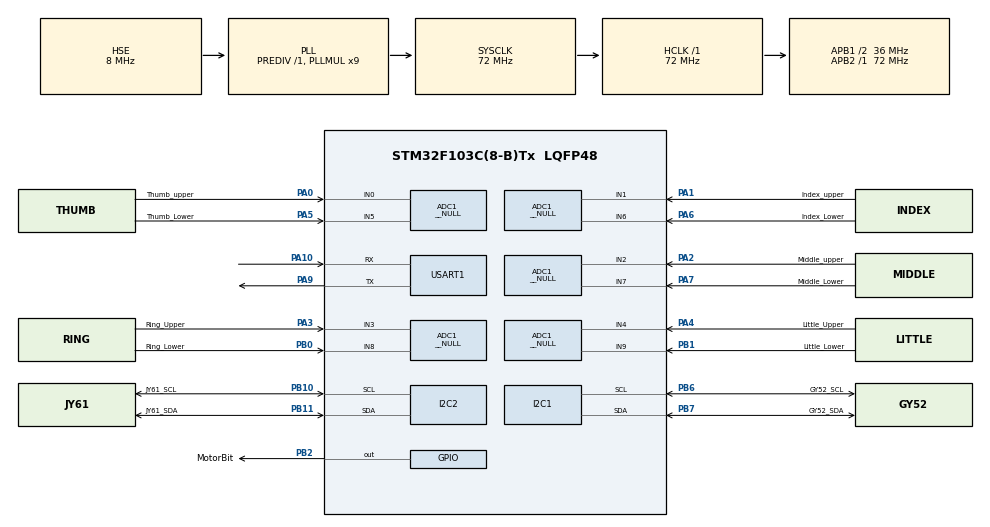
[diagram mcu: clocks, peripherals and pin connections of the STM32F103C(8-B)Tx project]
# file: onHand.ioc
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ADC1.Channel-0\#ChannelRegularConversion=ADC_CHANNEL_0
ADC1.Channel-1\#ChannelRegularConversion=ADC_CHANNEL_1
ADC1.Channel-2\#ChannelRegularConversion=ADC_CHANNEL_2
ADC1.Channel-3\#ChannelRegularConversion=ADC_CHANNEL_3
ADC1.Channel-4\#ChannelRegularConversion=ADC_CHANNEL_4
ADC1.Channel-5\#ChannelRegularConversion=ADC_CHANNEL_5
ADC1.Channel-6\#ChannelRegularConversion=ADC_CHANNEL_6
ADC1.Channel-7\#ChannelRegularConversion=ADC_CHANNEL_7
ADC1.Channel-8\#ChannelRegularConversion=ADC_CHANNEL_8
ADC1.Channel-9\#ChannelRegularConversion=ADC_CHANNEL_9
ADC1.ContinuousConvMode=DISABLE
ADC1.DataAlign=ADC_DATAALIGN_RIGHT
ADC1.DiscontinuousConvMode=DISABLE
ADC1.EnableAnalogWatchDog=false
ADC1.EnableRegularConversion=ENABLE
ADC1.ExternalTrigConvEdgeChoice=NONE
ADC1.InjNumberOfConversion=0
ADC1.Mode=__NULL
ADC1.NbrOfConversion=10
ADC1.NbrOfConversionFlag=1
ADC1.Rank-0\#ChannelRegularConversion=1
ADC1.Rank-1\#ChannelRegularConversion=2
ADC1.Rank-2\#ChannelRegularConversion=3
ADC1.Rank-3\#ChannelRegularConversion=4
ADC1.Rank-4\#ChannelRegularConversion=5
ADC1.Rank-5\#ChannelRegularConversion=6
ADC1.Rank-6\#ChannelRegularConversion=7
ADC1.Rank-7\#ChannelRegularConversion=8
ADC1.Rank-8\#ChannelRegularConversion=9
ADC1.Rank-9\#ChannelRegularConversion=10
ADC1.SamplingTime-0\#ChannelRegularConversion=ADC_SAMPLETIME_7CYCLES_5
ADC1.SamplingTime-1\#ChannelRegularConversion=ADC_SAMPLETIME_7CYCLES_5
ADC1.SamplingTime-2\#ChannelRegularConversion=ADC_SAMPLETIME_7CYCLES_5
ADC1.SamplingTime-3\#ChannelRegularConversion=ADC_SAMPLETIME_7CYCLES_5
ADC1.SamplingTime-4\#ChannelRegularConversion=ADC_SAMPLETIME_7CYCLES_5
ADC1.SamplingTime-5\#ChannelRegularConversion=ADC_SAMPLETIME_7CYCLES_5
ADC1.SamplingTime-6\#ChannelRegularConversion=ADC_SAMPLETIME_7CYCLES_5
ADC1.SamplingTime-7\#ChannelRegularConversion=ADC_SAMPLETIME_7CYCLES_5
ADC1.SamplingTime-8\#ChannelRegularConversion=ADC_SAMPLETIME_7CYCLES_5
ADC1.SamplingTime-9\#ChannelRegularConversion=ADC_SAMPLETIME_7CYCLES_5
ADC1.ScanConvMode=ADC_SCAN_ENABLE
ADC1.master=1
Dma.ADC1.2.Direction=DMA_PERIPH_TO_MEMORY
Dma.ADC1.2.Instance=DMA1_Channel1
Dma.ADC1.2.MemDataAlignment=DMA_MDATAALIGN_HALFWORD
Dma.ADC1.2.MemInc=DMA_MINC_ENABLE
Dma.ADC1.2.Mode=DMA_CIRCULAR
Dma.ADC1.2.PeriphDataAlignment=DMA_PDATAALIGN_HALFWORD
Dma.ADC1.2.PeriphInc=DMA_PINC_DISABLE
Dma.ADC1.2.Priority=DMA_PRIORITY_LOW
Dma.I2C1_RX.1.Direction=DMA_PERIPH_TO_MEMORY
Dma.I2C1_RX.1.Instance=DMA1_Channel7
Dma.I2C1_RX.1.MemDataAlignment=DMA_MDATAALIGN_BYTE
Dma.I2C1_RX.1.MemInc=DMA_MINC_ENABLE
Dma.I2C1_RX.1.Mode=DMA_NORMAL
Dma.I2C1_RX.1.PeriphDataAlignment=DMA_PDATAALIGN_BYTE
Dma.I2C1_RX.1.PeriphInc=DMA_PINC_DISABLE
Dma.I2C1_RX.1.Priority=DMA_PRIORITY_MEDIUM
Dma.I2C2_RX.0.Direction=DMA_PERIPH_TO_MEMORY
Dma.I2C2_RX.0.Instance=DMA1_Channel5
Dma.I2C2_RX.0.MemDataAlignment=DMA_MDATAALIGN_BYTE
Dma.I2C2_RX.0.MemInc=DMA_MINC_ENABLE
Dma.I2C2_RX.0.Mode=DMA_NORMAL
Dma.I2C2_RX.0.PeriphDataAlignment=DMA_PDATAALIGN_BYTE
Dma.I2C2_RX.0.PeriphInc=DMA_PINC_DISABLE
Dma.I2C2_RX.0.Priority=DMA_PRIORITY_MEDIUM
Dma.Request0=I2C2_RX
Dma.Request1=I2C1_RX
Dma.Request2=ADC1
Dma.Request3=USART1_TX
Dma.USART1_TX.3.Direction=DMA_MEMORY_TO_PERIPH
Dma.USART1_TX.3.Instance=DMA1_Channel4
Dma.USART1_TX.3.MemDataAlignment=DMA_MDATAALIGN_BYTE
Dma.USART1_TX.3.MemInc=DMA_MINC_ENABLE
Dma.USART1_TX.3.Mode=DMA_NORMAL
Dma.USART1_TX.3.PeriphDataAlignment=DMA_PDATAALIGN_BYTE
Dma.USART1_TX.3.PeriphInc=DMA_PINC_DISABLE
Dma.USART1_TX.3.Priority=DMA_PRIORITY_MEDIUM
Mcu.Family=STM32F1
Mcu.Name=STM32F103C(8-B)Tx
Mcu.Package=LQFP48
NVIC.DMA1_Channel1_IRQn=true\:3\:0\:true\:false\:true
NVIC.DMA1_Channel4_IRQn=true\:1\:0\:true\:false\:true
NVIC.DMA1_Channel5_IRQn=true\:2\:0\:true\:false\:true
NVIC.DMA1_Channel7_IRQn=true\:2\:0\:true\:false\:true
NVIC.PriorityGroup=NVIC_PRIORITYGROUP_4
NVIC.TIM2_IRQn=true\:0\:0\:true\:false\:true
NVIC.USART1_IRQn=true\:1\:0\:true\:false\:true
PA0-WKUP.GPIO_Label=Thumb_upper
PA0-WKUP.Signal=ADCx_IN0
PA1.GPIO_Label=Index_upper
PA1.Signal=ADCx_IN1
PA10.Mode=Asynchronous
PA10.Signal=USART1_RX
PA2.GPIO_Label=Middle_upper
PA2.Signal=ADCx_IN2
PA3.GPIO_Label=Ring_Upper
PA3.Signal=ADCx_IN3
PA4.GPIO_Label=Little_Upper
PA4.Signal=ADCx_IN4
PA5.GPIO_Label=Thumb_Lower
PA5.Signal=ADCx_IN5
PA6.GPIO_Label=Index_Lower
PA6.Signal=ADCx_IN6
PA7.GPIO_Label=Middle_Lower
PA7.Signal=ADCx_IN7
PA9.Mode=Asynchronous
PA9.Signal=USART1_TX
PB0.GPIO_Label=Ring_Lower
PB0.Signal=ADCx_IN8
PB1.GPIO_Label=Little_Lower
PB1.Signal=ADCx_IN9
PB10.GPIO_Label=JY61_SCL
PB10.Mode=I2C
PB10.Signal=I2C2_SCL
PB11.GPIO_Label=JY61_SDA
PB11.Mode=I2C
PB11.Signal=I2C2_SDA
PB2.GPIO_Label=MotorBit
PB2.Signal=GPIO_Output
PB6.GPIO_Label=GY52_SCL
PB6.Mode=I2C
PB6.Signal=I2C1_SCL
PB7.GPIO_Label=GY52_SDA
PB7.Mode=I2C
PB7.Signal=I2C1_SDA
PD0-OSC_IN.Mode=HSE-External-Oscillator
PD0-OSC_IN.Signal=RCC_OSC_IN
PD1-OSC_OUT.Mode=HSE-External-Oscillator
PD1-OSC_OUT.Signal=RCC_OSC_OUT
ProjectManager.HeapSize=0x400
ProjectManager.StackSize=0x200
ProjectManager.TargetToolchain=MDK-ARM V5
RCC.ADCPresc=RCC_ADCPCLK2_DIV6
RCC.AHBFreq_Value=72000000
RCC.APB1CLKDivider=RCC_HCLK_DIV2
RCC.APB1Freq_Value=36000000
RCC.APB1TimFreq_Value=72000000
RCC.APB2Freq_Value=72000000
RCC.APB2TimFreq_Value=72000000
RCC.EnbaleCSS=true
RCC.HCLKFreq_Value=72000000
RCC.HSIState=RCC_HSI_ON
RCC.PLLMUL=RCC_PLL_MUL9
RCC.PLLSourceVirtual=RCC_PLLSOURCE_HSE
RCC.SYSCLKFreq_VALUE=72000000
RCC.SYSCLKSource=RCC_SYSCLKSOURCE_PLLCLK
RCC.USBFreq_Value=72000000
SH.ADCx_IN0.0=ADC1_IN0,IN0
SH.ADCx_IN1.0=ADC1_IN1,IN1
SH.ADCx_IN2.0=ADC1_IN2,IN2
SH.ADCx_IN3.0=ADC1_IN3,IN3
SH.ADCx_IN4.0=ADC1_IN4,IN4
SH.ADCx_IN5.0=ADC1_IN5,IN5
SH.ADCx_IN6.0=ADC1_IN6,IN6
SH.ADCx_IN7.0=ADC1_IN7,IN7
SH.ADCx_IN8.0=ADC1_IN8,IN8
SH.ADCx_IN9.0=ADC1_IN9,IN9
TIM2.Period=4999
TIM2.Prescaler=71
TIM2.Pulse-Output\ Compare1\ No\ Output=0
TIM2.TIM_MasterSlaveMode=TIM_MASTERSLAVEMODE_DISABLE
VP_CRC_VS_CRC.Mode=CRC_Activate
VP_SYS_VS_ND.Mode=No_Debug
VP_TIM2_VS_no_output1.Mode=Output Compare1 No Output
board=onHand

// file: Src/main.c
/**
  ******************************************************************************
  * File Name          : main.c
  * Description        : Main program body
  ******************************************************************************
  *
  * COPYRIGHT(c) 2016 STMicroelectronics
  *
  * Redistribution and use in source and binary forms, with or without modification,
  * are permitted provided that the following conditions are met:
  *   1. Redistributions of source code must retain the above copyright notice,
  *      this list of conditions and the following disclaimer.
  *   2. Redistributions in binary form must reproduce the above copyright notice,
  *      this list of conditions and the following disclaimer in the documentation
  *      and/or other materials provided with the distribution.
  *   3. Neither the name of STMicroelectronics nor the names of its contributors
  *      may be used to endorse or promote products derived from this software
  *      without specific prior written permission.
  *
  * THIS SOFTWARE IS PROVIDED BY THE COPYRIGHT HOLDERS AND CONTRIBUTORS "AS IS"
  * AND ANY EXPRESS OR IMPLIED WARRANTIES, INCLUDING, BUT NOT LIMITED TO, THE
  * IMPLIED WARRANTIES OF MERCHANTABILITY AND FITNESS FOR A PARTICULAR PURPOSE ARE
  * DISCLAIMED. IN NO EVENT SHALL THE COPYRIGHT HOLDER OR CONTRIBUTORS BE LIABLE
  * FOR ANY DIRECT, INDIRECT, INCIDENTAL, SPECIAL, EXEMPLARY, OR CONSEQUENTIAL
  * DAMAGES (INCLUDING, BUT NOT LIMITED TO, PROCUREMENT OF SUBSTITUTE GOODS OR
  * SERVICES; LOSS OF USE, DATA, OR PROFITS; OR BUSINESS INTERRUPTION) HOWEVER
  * CAUSED AND ON ANY THEORY OF LIABILITY, WHETHER IN CONTRACT, STRICT LIABILITY,
  * OR TORT (INCLUDING NEGLIGENCE OR OTHERWISE) ARISING IN ANY WAY OUT OF THE USE
  * OF THIS SOFTWARE, EVEN IF ADVISED OF THE POSSIBILITY OF SUCH DAMAGE.
  *
  ******************************************************************************
  */
#include "main.h"
#include "stm32f1xx_hal.h"
#include "adc.h"
#include "crc.h"
#include "dma.h"
#include "i2c.h"
#include "tim.h"
#include "usart.h"
#include "gpio.h"

/* USER CODE BEGIN Includes */
	//include all the functional head file
#include "softconv.h"
#include "JY61.h"
#include "GY52.h"
#include "motor.h"
/* USER CODE END Includes */

/* USER CODE BEGIN PV */
/* Private variables ---------------------------------------------------------*/
static uint16_t pkt_size = 72;//packet size defined in bytes;almost const(with FLOAT_SIZE= 0x0A)
static uint32_t seq = 0;//HEADER{Timestamp, **seq**, data}
uint8_t RX_pData[4];//Array used for receive packet from HOST;constant 4 bytes
/* USER CODE END PV */

void SystemClock_Config(void);
void Error_Handler(void);

/* USER CODE BEGIN PFP */
/* Private function prototypes -----------------------------------------------*/
	//predefined built-in function
uint16_t floatEnconding(float, uint16_t, uint8_t*);
void onHandSystem_Init(void);
void fetchData_Async(void);
uint8_t* compressData(void);
/* USER CODE END PFP */

/* USER CODE BEGIN 0 */

/**
  * @brief  Encoding *float number* into *uint8*; \
	* SignBit(len:1) + IntegerPart(len:*type*) + DecimalPart(len:FLOAT_SIZE) \
	* THIS IS NOT COMPLEMENT CODING; E.g. -8.99945 --> 11000  11 1110 0111 (with TYPE_SIGNED_5)
  * @param  raw, raw data with *float* format
	*	@param  type, defined constatnt like TYPE_(UN)SIGNED_X in 'main.h'
	* @param  *data, the Encoded data in (uint8_t) format to take back
  * @retval uint16_t, the length of '*data' pointer(in bit)
  */
uint16_t floatEncoding(float raw, uint16_t type, uint8_t* data)
{
	uint8_t flag = 0;
	uint16_t *t1, *t2, mask1, mask2;
	mask1 = (1 << type) - 1;//mask for IntegerPart
	mask2 = (1 << FLOAT_SIZE) - 1;//mask for DecimalPart

	if(raw < 0)
	{
		raw = -raw;//remove negative sign; THIS IS NOT COMPLEMENT CODING
		flag = 1;//mark whether is negative
	}

	*t1 = (uint16_t)raw & mask1;//with mask on IntegerPart(without sign), set other bit 0
	*t2 = (uint16_t)((raw-(int)raw) * 1E3) & mask2;//with mask on DecimalPart, set other bit 0

	*data = (uint8_t *)((*t1) << FLOAT_SIZE) & (*t2);//addup the both part
	if(flag == 1)	//negative number
		*data &= flag << (FLOAT_SIZE + type - 1);//add sign on the first bit
	return (FLOAT_SIZE + type);//return the length
}

/**
  * @brief  This is the function firstly called by USER\
	* to start the *procedure* of the system
  * @param  none
  * @retval none
  */
void onHandSystem_Init()
{
	//Init the sensor needed to init
	ADC_Init();
	GY52_Init();

	Motor_Hold(1000);//run in block-mode
	//sensor carlibration start, not implemented
	HAL_Delay(3000);
	//sensor carlibration stop, not implemented
	Motor_Hold(1000);//run in block-mode

	HAL_UART_Receive_IT(&huart1, RX_pData, 4);//wait to wakeup by Host
}

/**
  * @brief  This is the function invoking each sensor's \
	* fetchData function to fetch data Asynchronous
  * @param  none
  * @retval none
  */
void fetchData_Async()
{
	ADC_fetchData();//fill in ADC_realData[10]
	JY61_fetchData();//fill in JY61_Data_t JY61_Data
	GY52_fetchData();//fill in GY52_Data_t GY52_Data
}

/**
  * @brief  Building the packet; Calling 'floatEncoding' for each segment
  * @param  none
  * @retval (uint8_t *), the actual packet as the result
  */
uint8_t* compressData(void)
{
	uint8_t *data = (uint8_t *)malloc(8 * pkt_size);//allocate memory by user, so need 'free' it
	uint8_t *ptr, *tmp, size;//index pointer; temp data generated; temp data length;
	float JY61_data[9] = {0};
	float GY52_data[6] = {0};

	//RETRIEVE *ADC* DATA(LOCAL from MEMORY)
	float *ADC_data = ADC_getAll();
	//RETRIEVE *JY61* DATA(LOCAL from MEMORY)
	JY61_getAcc(&JY61_data[0], &JY61_data[1], &JY61_data[2]);
	JY61_getGryo(&JY61_data[3], &JY61_data[4], &JY61_data[5]);
	JY61_getAngle(&JY61_data[6], &JY61_data[7], &JY61_data[8]);
	//RETRIEVE *GY52* DATA(LOCAL from MEMORY)
	GY52_getAcc(&GY52_data[0], &GY52_data[1], &GY52_data[2]);
	GY52_getGryo(&GY52_data[3], &GY52_data[4], &GY52_data[5]);

	//maintain *ptr as index pointer to TRAVERSE the packet size
	ptr = data;

	/**
  * @brief  Add HEADER
	* STRUCTURE:[90 BYTES]
	* |---------------------------|
	* |					'LFT'/'RAT'				|(3 bytes)
	* |---------------------------|
	* |					TimeStamp					|(4 bytes)
	* |---------------------------|
	* |					Sequnce No.				|(4 bytes)
	* |---------------------------|
	* |'A'|		JY61ACCX		|		JY61ACCY		|		JY61ACCZ		|(1+6 bytes)
	* |---------------------------|
	* |'B'|		JY61GRYX		|		JY61GRYY		|		JY61GRYZ		|(1+9 bytes)
	* |---------------------------|
	* |'C'|		JY61AGLX		|		JY61AGLY		|		JY61AGLZ		|(1+9 bytes)
	* |---------------------------|
	* |'D'|		GY52ACCX		|		GY52ACCY		|		GY52ACCZ		|(1+6 bytes)
	* |---------------------------|
	* |'E'|		GY52GRYX		|		GY52GRYY		|		GY52GRYZ		|(1+9 bytes)
	* |---------------------------|
	* |'F'|											ADC1 * 5									|(1+15 bytes)
	* |---------------------------|
	* |'G'|											ADC2 * 5									|(1+15 bytes)
	* |---------------------------|
	* |					'END'							|(3 bytes)
	* |---------------------------|
  */
	uint32_t* Timestamp;
	*Timestamp = HAL_GetTick();
	memcpy(ptr, (uint8_t *)Timestamp, 4);	ptr += 4;
	memcpy(ptr, (uint8_t *)seq, 4);				ptr += 4;

	/**
  * 'A', for JY61.ACC, 3*(5+10)
  */
	*(ptr++) = (uint8_t)'A';//add sign 'A', and shift the pointer to next place
	for (int i = 0; i < 3; i++)
	{
		size = floatEncoding(JY61_data[i], TYPE_SIGNED_5, tmp);
		size = ceil(size/8);//int bytes, to cover all the bits
		memcpy(ptr, tmp, size);//copy the data from *tmp* to *ptr* with *size*
		ptr += size;//pointer shift to next
	}

	/**
  * 'B', for JY61.GRYO, 3*(12+10)
  */
	*(ptr++) = (uint8_t)'B';
	for (int i = 3; i < 6; i++)
	{
		size = floatEncoding(JY61_data[i], TYPE_SIGNED_12, tmp);
		size = ceil(size/8);
		memcpy(ptr, tmp, size);
		ptr += size;
	}

	/**
  * 'C', for JY61.ANGL, 3*(10+10)
  */
	*(ptr++) = (uint8_t)'C';
	for (int i = 6; i < 9; i++)
	{
		size = floatEncoding(JY61_data[i], TYPE_SIGNED_10, tmp);
		size = ceil(size/8);
		memcpy(ptr, tmp, size);
		ptr += size;
	}

	/**
  * 'D', for GY52.ACC, 3*(5+10)
  */
	*(ptr++) = (uint8_t)'D';
	for (int i = 0; i < 3; i++)
	{
		size = floatEncoding(GY52_data[i], TYPE_SIGNED_5, tmp);
		size = ceil(size/8);
		memcpy(ptr, tmp, size);
		ptr += size;
	}

	/**
  * 'E', for GY52.GRYO, 3*(12+10)
  */
	*(ptr++) = (uint8_t)'E';
	for (int i = 3; i < 6; i++)
	{
		size = floatEncoding(GY52_data[i], TYPE_SIGNED_12, tmp);
		size = ceil(size/8);
		memcpy(ptr, tmp, size);
		ptr += size;
	}

	/**
  * 'F', for ADC 1, 5*(7+10)
  */
	*(ptr++) = (uint8_t)'F';
	for (int i = 0; i < 5; i++)
	{
		size = floatEncoding(ADC_data[i], TYPE_UNSIGNED_7, tmp);
		size = ceil(size/8);
		memcpy(ptr, tmp, size);
		ptr += size;
	}

	/**
  * 'F', for ADC 2, 5*(7+10)
  */
	*(ptr++) = (uint8_t)'G';
	for (int i = 5; i < 10; i++)
	{
		size = floatEncoding(ADC_data[i], TYPE_UNSIGNED_7, tmp);
		size = ceil(size/8);
		memcpy(ptr, tmp, size);
		ptr += size;
	}

	return data;
}

/**
  * @brief  This is the function called by interept with TIM2
  * @param  none
  * @retval none
  */
void SamplingTrans()
{
	fetchData_Async();//call fetch data first
	uint8_t* pkt = compressData();//compress the data LAST TIME fetched(most possiblly)
	HAL_UART_Transmit_DMA(&huart1, pkt, pkt_size);//transmit the packet through DMA
	free(pkt);//remember to free the allocate memory
}
/* USER CODE END 0 */

int main(void)
{

  /* MCU Configuration----------------------------------------------------------*/

  /* Reset of all peripherals, Initializes the Flash interface and the Systick. */
  HAL_Init();

  /* Configure the system clock */
  SystemClock_Config();

  /* Initialize all configured peripherals */
  MX_GPIO_Init();
  MX_DMA_Init();
  MX_ADC1_Init();
  MX_CRC_Init();
  MX_I2C1_Init();
  MX_I2C2_Init();
  MX_USART1_UART_Init();
  MX_TIM2_Init();

  /* USER CODE BEGIN 2 */
		//Initialization
		onHandSystem_Init();//call procedure start

  /* USER CODE END 2 */

  /* Infinite loop */
  while (1)
  {

  }

}

/** System Clock Configuration
*/
void SystemClock_Config(void)
{

  RCC_OscInitTypeDef RCC_OscInitStruct;
  RCC_ClkInitTypeDef RCC_ClkInitStruct;
  RCC_PeriphCLKInitTypeDef PeriphClkInit;

    /**Initializes the CPU, AHB and APB busses clocks
    */
  RCC_OscInitStruct.OscillatorType = RCC_OSCILLATORTYPE_HSE;
  RCC_OscInitStruct.HSEState = RCC_HSE_ON;
  RCC_OscInitStruct.HSEPredivValue = RCC_HSE_PREDIV_DIV1;
  RCC_OscInitStruct.HSIState = RCC_HSI_ON;
  RCC_OscInitStruct.PLL.PLLState = RCC_PLL_ON;
  RCC_OscInitStruct.PLL.PLLSource = RCC_PLLSOURCE_HSE;
  RCC_OscInitStruct.PLL.PLLMUL = RCC_PLL_MUL9;
  if (HAL_RCC_OscConfig(&RCC_OscInitStruct) != HAL_OK)
  {
    Error_Handler();
  }

    /**Initializes the CPU, AHB and APB busses clocks
    */
  RCC_ClkInitStruct.ClockType = RCC_CLOCKTYPE_HCLK|RCC_CLOCKTYPE_SYSCLK
                              |RCC_CLOCKTYPE_PCLK1|RCC_CLOCKTYPE_PCLK2;
  RCC_ClkInitStruct.SYSCLKSource = RCC_SYSCLKSOURCE_PLLCLK;
  RCC_ClkInitStruct.AHBCLKDivider = RCC_SYSCLK_DIV1;
  RCC_ClkInitStruct.APB1CLKDivider = RCC_HCLK_DIV2;
  RCC_ClkInitStruct.APB2CLKDivider = RCC_HCLK_DIV1;

  if (HAL_RCC_ClockConfig(&RCC_ClkInitStruct, FLASH_LATENCY_2) != HAL_OK)
  {
    Error_Handler();
  }

  PeriphClkInit.PeriphClockSelection = RCC_PERIPHCLK_ADC;
  PeriphClkInit.AdcClockSelection = RCC_ADCPCLK2_DIV6;
  if (HAL_RCCEx_PeriphCLKConfig(&PeriphClkInit) != HAL_OK)
  {
    Error_Handler();
  }

    /**Enables the Clock Security System
    */
  HAL_RCC_EnableCSS();

    /**Configure the Systick interrupt time
    */
  HAL_SYSTICK_Config(HAL_RCC_GetHCLKFreq()/1000);

    /**Configure the Systick
    */
  HAL_SYSTICK_CLKSourceConfig(SYSTICK_CLKSOURCE_HCLK);

  /* SysTick_IRQn interrupt configuration */
  HAL_NVIC_SetPriority(SysTick_IRQn, 0, 0);
}

void Error_Handler(void)
{
  while(1)
  {
  }
}

/************************ (C) COPYRIGHT STMicroelectronics *****END OF FILE****/
